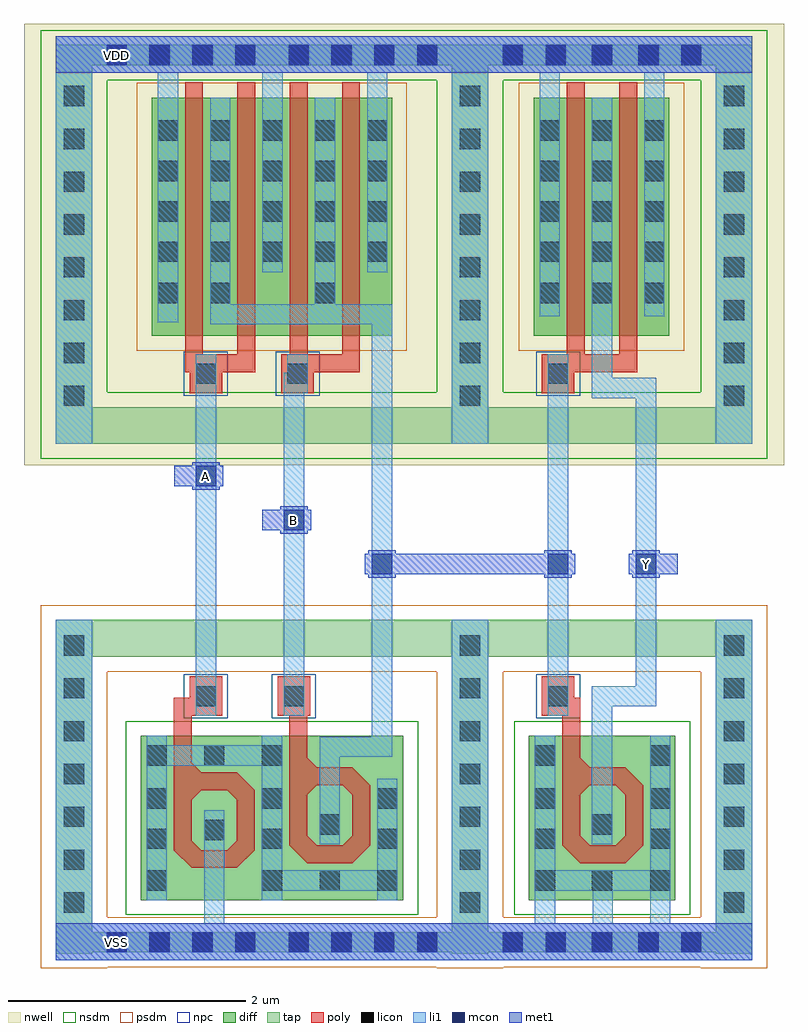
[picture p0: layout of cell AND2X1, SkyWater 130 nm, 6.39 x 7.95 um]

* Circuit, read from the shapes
.subckt AND2X1 A B VDD VSS Y
XM1 n1 A VSS VSS sky130_fd_pr__nfet_01v8 w=2.6 l=0.1491
XM2 n1 B n2 VSS sky130_fd_pr__nfet_01v8 w=2.56 l=0.1465
XM3 VSS n2 Y VSS sky130_fd_pr__nfet_01v8 w=2.56 l=0.1462
XM4 n2 A VDD VDD sky130_fd_pr__pfet_01v8 w=2 l=0.15 m=2
XM5 n2 B VDD VDD sky130_fd_pr__pfet_01v8 w=2 l=0.15 m=2
XM6 Y n2 VDD VDD sky130_fd_pr__pfet_01v8 w=2 l=0.15 m=2
.ends

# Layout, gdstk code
import gdstk
lib = gdstk.Library(unit=1e-6, precision=1e-09)
def R(c, l, rs):  # rectangles x0, y0, x1, y1
    for r in rs: c.add(gdstk.rectangle(r[:2], r[2:], *l))
def A(c, l, x, y, w, h, nx, ny, dx, dy):  # array of equal rectangles
    R(c, l, [(x+i*dx, y+j*dy, x+i*dx+w, y+j*dy+h) for i in range(nx) for j in range(ny)])
def P(c, l, *ps):  # polygons
    for p in ps: c.add(gdstk.Polygon(p, *l))
nwell = (64, 20)
diff = (65, 20)
tap = (65, 44)
poly = (66, 20)
licon = (66, 44)
li1 = (67, 20)
mcon = (67, 44)
met1 = (68, 20)
nsdm = (93, 44)
psdm = (94, 20)
npc = (95, 20)

and2x1 = lib.new_cell('AND2X1')
R(and2x1, nwell, [(-0.42,4.16,5.97,7.875)])
R(and2x1, diff, [(0.56,0.505,2.77,1.885), (3.825,0.505,5.055,1.885), (0.655,5.25,2.675,7.25), (3.865,5.25,5.005,7.25)])
R(and2x1, tap, [(-0.155,0.055,0.155,0.065), (3.175,0.055,3.485,0.065), (5.395,0.055,5.705,0.065), (-0.155,0.065,5.705,0.235), (-0.155,0.235,0.155,2.55), (3.175,0.235,3.485,2.55), (5.395,0.235,5.705,2.55), (-0.155,2.55,5.705,2.86), (-0.155,4.34,5.705,4.65), (-0.155,4.65,0.155,7.525), (3.175,4.65,3.485,7.525), (5.395,4.65,5.705,7.525), (-0.155,7.525,5.705,7.695)])
A(and2x1, poly, 0.935, 5.095, 0.15, 2.285, 4, 1, 0.44, 0)
R(and2x1, poly, [(0.99,0.775,1.37,0.925), (1.96,0.815,2.34,0.965), (4.255,0.815,4.635,0.965), (0.84,0.925,0.99,1.43), (1.37,0.925,1.52,1.43), (1.81,0.965,1.96,1.47), (2.34,0.965,2.49,1.47), (4.105,0.965,4.255,1.47), (4.635,0.965,4.785,1.47), (0.84,1.43,1.37,1.58), (1.81,1.47,2.34,1.62), (4.105,1.47,4.635,1.62), (0.84,1.58,0.99,2.055), (1.81,1.62,1.96,2.055), (4.105,1.62,4.255,2.055), (0.84,2.055,1.245,2.205), (1.715,2.055,1.985,2.385), (3.935,2.055,4.255,2.205), (0.975,2.205,1.245,2.385), (3.935,2.205,4.205,2.385), (0.975,4.765,1.245,4.945), (1.745,4.765,2.015,4.945), (3.935,4.765,4.205,4.945), (0.935,4.945,1.525,5.095), (1.745,4.945,2.405,5.095), (3.935,4.945,4.735,5.095), (4.145,5.095,4.295,7.38), (4.585,5.095,4.735,7.38)])
P(and2x1, poly, [(0.99,1.66),(0.99,1.58),(1.07,1.58)],
  [(1.96,1.7),(1.96,1.62),(2.04,1.62)],
  [(4.255,1.7),(4.255,1.62),(4.335,1.62)],
  [(1.37,1.58),(1.37,1.43),(1.52,1.43)],
  [(0.99,1.35),(0.99,1.43),(1.07,1.43)],
  [(1.29,1.43),(1.37,1.43),(1.37,1.35)],
  [(0.99,1.005),(0.99,0.925),(1.07,0.925)],
  [(1.29,0.925),(1.37,0.925),(1.37,1.005)],
  [(0.84,0.925),(0.99,0.925),(0.99,0.775)],
  [(1.37,0.775),(1.37,0.925),(1.52,0.925)],
  [(2.34,1.62),(2.34,1.47),(2.49,1.47)],
  [(1.96,1.39),(1.96,1.47),(2.04,1.47)],
  [(2.26,1.47),(2.34,1.47),(2.34,1.39)],
  [(1.96,1.045),(1.96,0.965),(2.04,0.965)],
  [(2.26,0.965),(2.34,0.965),(2.34,1.045)],
  [(1.81,0.965),(1.96,0.965),(1.96,0.815)],
  [(2.34,0.815),(2.34,0.965),(2.49,0.965)],
  [(4.635,1.62),(4.635,1.47),(4.785,1.47)],
  [(4.255,1.39),(4.255,1.47),(4.335,1.47)],
  [(4.555,1.47),(4.635,1.47),(4.635,1.39)],
  [(4.255,1.045),(4.255,0.965),(4.335,0.965)],
  [(4.555,0.965),(4.635,0.965),(4.635,1.045)],
  [(4.105,0.965),(4.255,0.965),(4.255,0.815)],
  [(4.635,0.815),(4.635,0.965),(4.785,0.965)])
A(and2x1, licon, 0.275, 0.065, 0.17, 0.17, 4, 2, 0.36, 7.46)
A(and2x1, licon, 1.805, 0.065, 0.17, 0.17, 4, 2, 0.36, 7.46)
A(and2x1, licon, 3.965, 0.065, 0.17, 0.17, 3, 2, 0.39, 7.46)
A(and2x1, licon, -0.085, 0.4, 0.17, 0.17, 1, 7, 0, 0.36)
A(and2x1, licon, 3.245, 0.4, 0.17, 0.17, 1, 7, 0, 0.36)
A(and2x1, licon, 5.465, 0.4, 0.17, 0.17, 1, 7, 0, 0.36)
A(and2x1, licon, 1.58, 0.585, 0.17, 0.17, 3, 1, 0.485, 0)
A(and2x1, licon, 0.61, 0.935, 0.17, 0.17, 3, 2, 0.97, 0.34)
A(and2x1, licon, 0.61, 1.635, 0.17, 0.17, 3, 1, 0.485, 0)
A(and2x1, licon, -0.085, 4.66, 0.17, 0.17, 1, 8, 0, 0.36)
A(and2x1, licon, 3.245, 4.66, 0.17, 0.17, 1, 8, 0, 0.36)
A(and2x1, licon, 5.465, 4.66, 0.17, 0.17, 1, 8, 0, 0.36)
A(and2x1, licon, 3.915, 5.525, 0.17, 0.17, 3, 2, 0.44, 0.345)
A(and2x1, licon, 0.705, 5.87, 0.17, 0.17, 5, 4, 0.44, 0.34)
A(and2x1, licon, 3.915, 6.21, 0.17, 0.17, 3, 3, 0.44, 0.34)
R(and2x1, licon, [(3.605,0.065,3.775,0.235), (5.105,0.065,5.275,0.235), (0.61,0.585,0.78,0.755), (3.875,0.585,4.045,0.755), (4.355,0.585,4.525,0.755), (4.845,0.585,5.015,0.755), (3.875,0.935,4.045,1.105), (4.845,0.935,5.015,1.105), (1.095,1.01,1.265,1.18), (2.065,1.055,2.235,1.225), (4.355,1.055,4.525,1.225), (3.875,1.275,4.045,1.445), (4.845,1.275,5.015,1.445), (3.875,1.635,4.045,1.805), (4.845,1.635,5.015,1.805), (1.025,2.135,1.195,2.305), (1.765,2.135,1.935,2.305), (3.985,2.135,4.155,2.305), (1.025,4.845,1.195,5.015), (1.795,4.845,1.965,5.015), (3.985,4.845,4.155,5.015), (0.705,5.525,0.875,5.695), (1.145,5.525,1.315,5.695), (2.025,5.525,2.195,5.695), (3.605,7.525,3.775,7.695), (5.105,7.525,5.275,7.695)])
A(and2x1, li1, 3.875, 0.31, 0.17, 0.275, 3, 1, 0.485, 0)
R(and2x1, li1, [(-0.155,0,5.705,0.31), (-0.155,0.31,0.155,2.86), (1.095,0.31,1.265,1.26), (3.175,0.31,3.485,2.86), (5.395,0.31,5.705,2.86), (0.61,0.505,0.78,1.635), (1.58,0.505,1.75,0.585), (2.55,0.505,2.72,0.585), (1.58,0.585,2.72,0.755), (3.875,0.585,5.015,0.755), (1.58,0.755,1.75,1.635), (2.55,0.755,2.72,1.525), (3.875,0.755,4.045,1.885), (4.845,0.755,5.015,1.885), (2.065,0.975,2.235,1.71), (4.355,0.975,4.525,2.135), (0.61,1.635,1.75,1.805), (2.065,1.71,2.675,1.88), (0.61,1.805,0.78,1.885), (1.58,1.805,1.75,1.885), (2.505,1.88,2.675,5.345), (1.025,2.055,1.195,5.095), (1.765,2.055,1.935,4.765), (3.985,2.055,4.155,5.095), (4.355,2.135,4.895,2.305), (4.725,2.305,4.895,4.725), (-0.155,4.34,0.155,7.46), (3.175,4.34,3.485,7.46), (5.395,4.34,5.705,7.46), (4.355,4.725,4.895,4.895), (1.765,4.765,1.965,4.94), (4.355,4.895,4.525,7.25), (1.795,4.94,1.965,5.095), (1.145,5.345,2.675,5.515), (0.705,5.365,0.875,7.46), (3.915,5.415,4.085,7.46), (4.795,5.415,4.965,7.46), (1.145,5.515,1.315,7.25), (2.025,5.515,2.195,7.25), (1.585,5.785,1.755,7.46), (2.465,5.785,2.635,7.46), (-0.155,7.46,5.705,7.77)])
A(and2x1, mcon, 0.275, 0.065, 0.17, 0.17, 4, 2, 0.36, 7.46)
A(and2x1, mcon, 1.805, 0.065, 0.17, 0.17, 4, 2, 0.36, 7.46)
A(and2x1, mcon, 3.965, 0.065, 0.17, 0.17, 3, 2, 0.39, 7.46)
R(and2x1, mcon, [(3.605,0.065,3.775,0.235), (5.105,0.065,5.275,0.235), (2.505,3.245,2.675,3.415), (3.985,3.245,4.155,3.415), (4.725,3.245,4.895,3.415), (1.765,3.615,1.935,3.785), (1.025,3.985,1.195,4.155), (3.605,7.525,3.775,7.695), (5.105,7.525,5.275,7.695)])
R(and2x1, met1, [(-0.155,0,5.705,0.31), (2.475,3.215,2.705,3.245), (3.955,3.215,4.185,3.245), (4.695,3.215,4.925,3.245), (2.445,3.245,4.215,3.415), (4.665,3.245,5.075,3.415), (2.475,3.415,2.705,3.445), (3.955,3.415,4.185,3.445), (4.695,3.415,4.925,3.445), (1.735,3.585,1.965,3.615), (1.585,3.615,1.995,3.785), (1.735,3.785,1.965,3.815), (0.995,3.955,1.225,3.985), (0.845,3.985,1.255,4.155), (0.995,4.155,1.225,4.185), (-0.155,7.46,5.705,7.77)])
R(and2x1, nsdm, [(0.435,0.38,2.895,2.01), (3.7,0.38,5.18,2.01), (-0.28,4.215,5.83,4.775), (-0.28,4.775,0.28,7.4), (3.05,4.775,3.61,7.4), (5.27,4.775,5.83,7.4), (-0.28,7.4,5.83,7.82)])
R(and2x1, psdm, [(-0.28,-0.07,0.28,-0.06), (3.05,-0.07,3.61,-0.06), (5.27,-0.07,5.83,-0.06), (-0.28,-0.06,5.83,0.36), (-0.28,0.36,0.28,2.425), (3.05,0.36,3.61,2.425), (5.27,0.36,5.83,2.425), (-0.28,2.425,5.83,2.985), (0.53,5.125,2.8,7.375), (3.74,5.125,5.13,7.375)])
R(and2x1, npc, [(0.925,2.035,1.295,2.405), (1.665,2.035,2.035,2.405), (3.885,2.035,4.255,2.405), (0.925,4.745,1.295,5.115), (1.695,4.745,2.065,5.115), (3.885,4.745,4.255,5.115)])
and2x1.add(gdstk.Label('Y', (4.81,3.33), layer=68, texttype=16))
and2x1.add(gdstk.Label('A', (1.11,4.07), layer=68, texttype=16))
and2x1.add(gdstk.Label('B', (1.85,3.7), layer=68, texttype=16))
and2x1.add(gdstk.Label('VDD', (0.36,7.61), layer=68, texttype=16))
and2x1.add(gdstk.Label('VSS', (0.36,0.15), layer=68, texttype=16))

lib.write_gds('AND2X1.gds')
